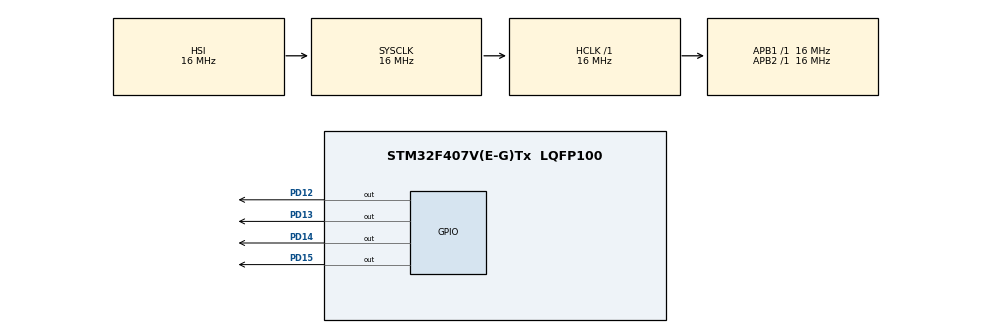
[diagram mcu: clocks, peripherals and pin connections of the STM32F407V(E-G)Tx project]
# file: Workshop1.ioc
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Mcu.Family=STM32F4
Mcu.Name=STM32F407V(E-G)Tx
Mcu.Package=LQFP100
NVIC.PriorityGroup=NVIC_PRIORITYGROUP_4
PD12.Signal=GPIO_Output
PD13.Signal=GPIO_Output
PD14.Signal=GPIO_Output
PD15.Signal=GPIO_Output
ProjectManager.HeapSize=0x200
ProjectManager.StackSize=0x400
ProjectManager.TargetToolchain=STM32CubeIDE
RCC.AHBFreq_Value=16000000
RCC.APB1Freq_Value=16000000
RCC.APB2Freq_Value=16000000
RCC.CortexFreq_Value=16000000
RCC.HSE_VALUE=25000000
RCC.HSI_VALUE=16000000
RCC.LSE_VALUE=32768
RCC.SYSCLKFreq_VALUE=16000000
RCC.VCOOutputFreq_Value=192000000
board=custom

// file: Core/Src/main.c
/* USER CODE BEGIN Header */
/**
  ******************************************************************************
  * @file           : main.c
  * @brief          : Main program body
  ******************************************************************************
  * @attention
  *
  * <h2><center>&copy; Copyright (c) 2021 STMicroelectronics.
  * All rights reserved.</center></h2>
  *
  * This software component is licensed by ST under BSD 3-Clause license,
  * the "License"; You may not use this file except in compliance with the
  * License. You may obtain a copy of the License at:
  *                        opensource.org/licenses/BSD-3-Clause
  *
  ******************************************************************************
  */
/* USER CODE END Header */
#include "main.h"

void SystemClock_Config(void);
static void MX_GPIO_Init(void);

/* USER CODE BEGIN 0 */

const int customDelay = 500;
const uint16_t roundPins[] = { GPIO_PIN_12, GPIO_PIN_13, GPIO_PIN_14, GPIO_PIN_15 };

void blink()
{
  for (int firstRound = 0, secondRound = 2;;)
  {
	  if (HAL_GPIO_ReadPin(GPIOD, roundPins[firstRound]) == GPIO_PIN_SET)
		  HAL_GPIO_WritePin(GPIOD, roundPins[firstRound], GPIO_PIN_RESET);
	  HAL_Delay(customDelay);

	  if (firstRound < 3)
		  firstRound++;
	  else
		  firstRound = 0;

	  if (HAL_GPIO_ReadPin(GPIOD, roundPins[firstRound]) == GPIO_PIN_RESET)
		  HAL_GPIO_WritePin(GPIOD, roundPins[firstRound], GPIO_PIN_SET);
	  HAL_Delay(customDelay);

	  if (HAL_GPIO_ReadPin(GPIOD, roundPins[secondRound]) == GPIO_PIN_SET)
		  HAL_GPIO_WritePin(GPIOD, roundPins[secondRound], GPIO_PIN_RESET);
	  HAL_Delay(customDelay);

	  if (secondRound < 3)
		  secondRound++;
	  else
		  secondRound = 0;

	  if (HAL_GPIO_ReadPin(GPIOD, roundPins[secondRound]) == GPIO_PIN_RESET)
		  HAL_GPIO_WritePin(GPIOD, roundPins[secondRound], GPIO_PIN_SET);
	  HAL_Delay(customDelay);
  }
}

/* USER CODE END 0 */

int main(void)
{

  /* MCU Configuration--------------------------------------------------------*/

  /* Reset of all peripherals, Initializes the Flash interface and the Systick. */
  HAL_Init();

  /* Configure the system clock */
  SystemClock_Config();

  /* Initialize all configured peripherals */
  MX_GPIO_Init();

  /* Infinite loop */
  /* USER CODE BEGIN WHILE */
  while (1)
  {
	  blink();

    /* USER CODE END WHILE */

  }
}

void SystemClock_Config(void)
{
  RCC_OscInitTypeDef RCC_OscInitStruct = {0};
  RCC_ClkInitTypeDef RCC_ClkInitStruct = {0};

  /** Configure the main internal regulator output voltage
  */
  __HAL_RCC_PWR_CLK_ENABLE();
  __HAL_PWR_VOLTAGESCALING_CONFIG(PWR_REGULATOR_VOLTAGE_SCALE1);
  /** Initializes the RCC Oscillators according to the specified parameters
  * in the RCC_OscInitTypeDef structure.
  */
  RCC_OscInitStruct.OscillatorType = RCC_OSCILLATORTYPE_HSI;
  RCC_OscInitStruct.HSIState = RCC_HSI_ON;
  RCC_OscInitStruct.HSICalibrationValue = RCC_HSICALIBRATION_DEFAULT;
  RCC_OscInitStruct.PLL.PLLState = RCC_PLL_NONE;
  if (HAL_RCC_OscConfig(&RCC_OscInitStruct) != HAL_OK)
  {
    Error_Handler();
  }
  /** Initializes the CPU, AHB and APB buses clocks
  */
  RCC_ClkInitStruct.ClockType = RCC_CLOCKTYPE_HCLK|RCC_CLOCKTYPE_SYSCLK
                              |RCC_CLOCKTYPE_PCLK1|RCC_CLOCKTYPE_PCLK2;
  RCC_ClkInitStruct.SYSCLKSource = RCC_SYSCLKSOURCE_HSI;
  RCC_ClkInitStruct.AHBCLKDivider = RCC_SYSCLK_DIV1;
  RCC_ClkInitStruct.APB1CLKDivider = RCC_HCLK_DIV1;
  RCC_ClkInitStruct.APB2CLKDivider = RCC_HCLK_DIV1;

  if (HAL_RCC_ClockConfig(&RCC_ClkInitStruct, FLASH_LATENCY_0) != HAL_OK)
  {
    Error_Handler();
  }
}

static void MX_GPIO_Init(void)
{
  GPIO_InitTypeDef GPIO_InitStruct = {0};

  /* GPIO Ports Clock Enable */
  __HAL_RCC_GPIOD_CLK_ENABLE();

  /*Configure GPIO pin Output Level */
  HAL_GPIO_WritePin(GPIOD, GPIO_PIN_12|GPIO_PIN_13|GPIO_PIN_14|GPIO_PIN_15, GPIO_PIN_RESET);

  /*Configure GPIO pins : PD12 PD13 PD14 PD15 */
  GPIO_InitStruct.Pin = GPIO_PIN_12|GPIO_PIN_13|GPIO_PIN_14|GPIO_PIN_15;
  GPIO_InitStruct.Mode = GPIO_MODE_OUTPUT_PP;
  GPIO_InitStruct.Pull = GPIO_NOPULL;
  GPIO_InitStruct.Speed = GPIO_SPEED_FREQ_LOW;
  HAL_GPIO_Init(GPIOD, &GPIO_InitStruct);

}

void Error_Handler(void)
{
  __disable_irq();
  while (1)
  {
  }
}

/************************ (C) COPYRIGHT STMicroelectronics *****END OF FILE****/
